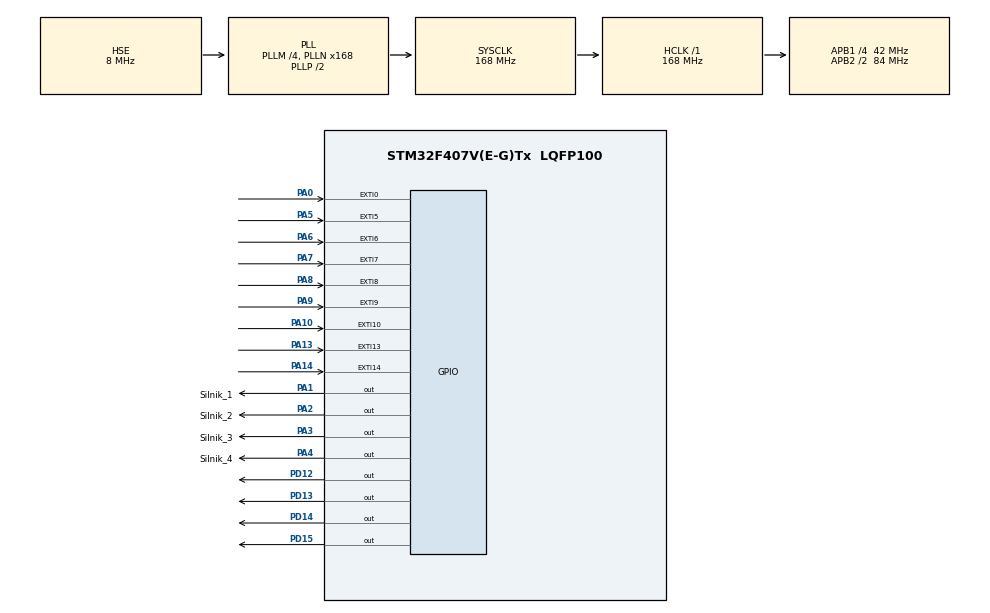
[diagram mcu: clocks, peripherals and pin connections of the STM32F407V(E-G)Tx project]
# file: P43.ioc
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Mcu.Family=STM32F4
Mcu.Name=STM32F407V(E-G)Tx
Mcu.Package=LQFP100
NVIC.EXTI0_IRQn=true\:0\:0\:false\:false\:true\:true\:true
NVIC.EXTI9_5_IRQn=true\:0\:0\:false\:false\:true\:true\:true
NVIC.PriorityGroup=NVIC_PRIORITYGROUP_4
PA0-WKUP.GPIO_ModeDefaultEXTI=GPIO_MODE_IT_RISING
PA0-WKUP.Signal=GPXTI0
PA1.GPIO_Label=Silnik_1
PA1.Signal=GPIO_Output
PA10.GPIO_PuPd=GPIO_PULLDOWN
PA10.Signal=GPXTI10
PA13.GPIO_PuPd=GPIO_PULLDOWN
PA13.Signal=GPXTI13
PA14.GPIO_PuPd=GPIO_PULLDOWN
PA14.Signal=GPXTI14
PA2.GPIO_Label=Silnik_2
PA2.Signal=GPIO_Output
PA3.GPIO_Label=Silnik_3
PA3.Signal=GPIO_Output
PA4.GPIO_Label=Silnik_4
PA4.Signal=GPIO_Output
PA5.GPIO_PuPd=GPIO_PULLDOWN
PA5.Signal=GPXTI5
PA6.GPIO_PuPd=GPIO_PULLDOWN
PA6.Signal=GPXTI6
PA7.GPIO_PuPd=GPIO_PULLDOWN
PA7.Signal=GPXTI7
PA8.GPIO_PuPd=GPIO_PULLDOWN
PA8.Signal=GPXTI8
PA9.GPIO_PuPd=GPIO_PULLDOWN
PA9.Signal=GPXTI9
PD12.Signal=GPIO_Output
PD13.Signal=GPIO_Output
PD14.Signal=GPIO_Output
PD15.Signal=GPIO_Output
PH0-OSC_IN.Mode=HSE-External-Oscillator
PH0-OSC_IN.Signal=RCC_OSC_IN
PH1-OSC_OUT.Mode=HSE-External-Oscillator
PH1-OSC_OUT.Signal=RCC_OSC_OUT
ProjectManager.HeapSize=0x200
ProjectManager.StackSize=0x400
ProjectManager.TargetToolchain=SW4STM32
RCC.48MHZClocksFreq_Value=84000000
RCC.AHBFreq_Value=168000000
RCC.APB1CLKDivider=RCC_HCLK_DIV4
RCC.APB1Freq_Value=42000000
RCC.APB1TimFreq_Value=84000000
RCC.APB2CLKDivider=RCC_HCLK_DIV2
RCC.APB2Freq_Value=84000000
RCC.APB2TimFreq_Value=168000000
RCC.CortexFreq_Value=168000000
RCC.HCLKFreq_Value=168000000
RCC.HSE_VALUE=8000000
RCC.HSI_VALUE=16000000
RCC.LSE_VALUE=32768
RCC.PLLM=4
RCC.PLLN=168
RCC.PLLSourceVirtual=RCC_PLLSOURCE_HSE
RCC.SYSCLKFreq_VALUE=168000000
RCC.SYSCLKSource=RCC_SYSCLKSOURCE_PLLCLK
RCC.VCOOutputFreq_Value=336000000
board=custom

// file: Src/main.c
/* USER CODE BEGIN Header */
/**
  ******************************************************************************
  * @file           : main.c
  * @brief          : Main program body
  ******************************************************************************
  * @attention
  *
  * <h2><center>&copy; Copyright (c) 2020 STMicroelectronics.
  * All rights reserved.</center></h2>
  *
  * This software component is licensed by ST under BSD 3-Clause license,
  * the "License"; You may not use this file except in compliance with the
  * License. You may obtain a copy of the License at:
  *                        opensource.org/licenses/BSD-3-Clause
  *
  ******************************************************************************
  */
/* USER CODE END Header */

#include "main.h"

/* USER CODE BEGIN Includes */
#include "CustomStepperLib.h"
#include "Control.h"
/* USER CODE END Includes */

/* USER CODE BEGIN PD */
/*
/*
    tryby
    0 - manual
    1 - otworz maks
    2 - zamknij maks
    3 - wedlug czasu
*/
int mode = 0;

int aktualna_pozycja = 0;
int maksymalna_pozycja = 100;

int aktualny_czas = 0;
int czas_otwarcia = 150000;
int czas_zamkniecia = 100000;
/* USER CODE END PD */

void SystemClock_Config(void);
static void MX_GPIO_Init(void);
/* USER CODE BEGIN PFP */
void otworz(){
    stepper_motor_rotate_by_angle(10, 0, gRPM);
    aktualna_pozycja -= 10;
}

void zamknij(){
    stepper_motor_rotate_by_angle(10, 1, gRPM);
    aktualna_pozycja += 10;
}
void HAL_GPIO_EXTI_Callback(uint16_t GPIO_Pin){
//k0 - A5,k1-A6,k2-A7,k3-A8,k4-A9,k5-A10,k6-A13,k7-A14
	/*
	    przyciski
	    k0 - tryb manual
	    k1 - tryb otworz maks
	    k2 - tryb zamknij maks
	    k3 - tryb czasu
	    k4 - ustaw pozycje otwartego maks (tylko manual)
	    k5 - ustaw pozycje zamknietego maks (tylko manual)
	    k6 - przesun w dol
	    k7 - przesun w gore
	*/
	if (HAL_GPIO_ReadPin(GPIOA, GPIO_PIN_5) == GPIO_PIN_SET) {//k0
	    mode = 0;
	}
	if (HAL_GPIO_ReadPin(GPIOA, GPIO_PIN_6) == GPIO_PIN_SET) {//k1
	    mode = 1;
	}
	if (HAL_GPIO_ReadPin(GPIOA, GPIO_PIN_7) == GPIO_PIN_SET) {//k2
	    mode = 2;
	}
	if (HAL_GPIO_ReadPin(GPIOA, GPIO_PIN_8) == GPIO_PIN_SET) {//k3
	    mode = 3;
	}
	if (HAL_GPIO_ReadPin(GPIOA, GPIO_PIN_9) == GPIO_PIN_SET) {//k4
	    if(mode == 0){
	        aktualna_pozycja = 0;
	    }
	}
	if (HAL_GPIO_ReadPin(GPIOA, GPIO_PIN_10) == GPIO_PIN_SET) {//k5
	    if(mode == 0){
	        maksymalna_pozycja = aktualna_pozycja;
	    }
	}
	if (HAL_GPIO_ReadPin(GPIOA, GPIO_PIN_13) == GPIO_PIN_SET) {//k6
	    if(mode == 0){
	        otworz();
	    }
	}
	if (HAL_GPIO_ReadPin(GPIOA, GPIO_PIN_14) == GPIO_PIN_SET) {//k7
	    if(mode == 0){
	        zamknij();
	    }
	}

}

/* USER CODE END PFP */

int main(void)
{

  /* MCU Configuration--------------------------------------------------------*/

  /* Reset of all peripherals, Initializes the Flash interface and the Systick. */
  HAL_Init();

  /* Configure the system clock */
  SystemClock_Config();

  /* Initialize all configured peripherals */
  MX_GPIO_Init();

  /* Infinite loop */
  /* USER CODE BEGIN WHILE */
  while (1)
  {
	  //PD12 - zielony,PD13-pomaraсczowy,PD14-czerwony,PD15-niebieski
	  	if (HAL_GPIO_ReadPin(GPIOA, GPIO_PIN_13) == GPIO_PIN_SET) {//k6
	        otworz();
	  	}
	  	if (HAL_GPIO_ReadPin(GPIOA, GPIO_PIN_14) == GPIO_PIN_SET) {//k7
	  	        zamknij();

	  	}
	  if(mode == 0){
	      HAL_GPIO_WritePin(GPIOD, GPIO_PIN_12, SET);
	      HAL_GPIO_WritePin(GPIOD, GPIO_PIN_13, RESET);
	      HAL_GPIO_WritePin(GPIOD, GPIO_PIN_14, RESET);
	      HAL_GPIO_WritePin(GPIOD, GPIO_PIN_15, RESET);

	  } else if(mode == 1){
	      HAL_GPIO_WritePin(GPIOD, GPIO_PIN_12, RESET);
	      HAL_GPIO_WritePin(GPIOD, GPIO_PIN_13, SET);
	      HAL_GPIO_WritePin(GPIOD, GPIO_PIN_14, RESET);
	      HAL_GPIO_WritePin(GPIOD, GPIO_PIN_15, RESET);

	      if(aktualna_pozycja > 0){
	          otworz();
	      }

	  } else if(mode == 2){
	      HAL_GPIO_WritePin(GPIOD, GPIO_PIN_12, RESET);
	      HAL_GPIO_WritePin(GPIOD, GPIO_PIN_13, RESET);
	      HAL_GPIO_WritePin(GPIOD, GPIO_PIN_14, SET);
	      HAL_GPIO_WritePin(GPIOD, GPIO_PIN_15, RESET);

	      if(aktualna_pozycja < maksymalna_pozycja){
	          zamknij();
	      }

	  } else if(mode == 3){
	      HAL_GPIO_WritePin(GPIOD, GPIO_PIN_12, RESET);
	      HAL_GPIO_WritePin(GPIOD, GPIO_PIN_13, RESET);
	      HAL_GPIO_WritePin(GPIOD, GPIO_PIN_14, RESET);
	      HAL_GPIO_WritePin(GPIOD, GPIO_PIN_15, SET);

	     if(aktualny_czas > czas_zamkniecia){
	             if(aktualny_czas > czas_otwarcia){
	                 if(aktualna_pozycja > 0){
	                     otworz();
	                 }

	             }else{
	                 if(aktualna_pozycja < maksymalna_pozycja){
	                     zamknij();
	                 }
	             }
	         }else{
	             if(aktualna_pozycja > 0){
	                otworz();
	             }
	         }

    /* USER CODE END WHILE */

  }
}

void SystemClock_Config(void)
{
  RCC_OscInitTypeDef RCC_OscInitStruct = {0};
  RCC_ClkInitTypeDef RCC_ClkInitStruct = {0};

  /** Configure the main internal regulator output voltage
  */
  __HAL_RCC_PWR_CLK_ENABLE();
  __HAL_PWR_VOLTAGESCALING_CONFIG(PWR_REGULATOR_VOLTAGE_SCALE1);
  /** Initializes the CPU, AHB and APB busses clocks
  */
  RCC_OscInitStruct.OscillatorType = RCC_OSCILLATORTYPE_HSE;
  RCC_OscInitStruct.HSEState = RCC_HSE_ON;
  RCC_OscInitStruct.PLL.PLLState = RCC_PLL_ON;
  RCC_OscInitStruct.PLL.PLLSource = RCC_PLLSOURCE_HSE;
  RCC_OscInitStruct.PLL.PLLM = 4;
  RCC_OscInitStruct.PLL.PLLN = 168;
  RCC_OscInitStruct.PLL.PLLP = RCC_PLLP_DIV2;
  RCC_OscInitStruct.PLL.PLLQ = 4;
  if (HAL_RCC_OscConfig(&RCC_OscInitStruct) != HAL_OK)
  {
    Error_Handler();
  }
  /** Initializes the CPU, AHB and APB busses clocks
  */
  RCC_ClkInitStruct.ClockType = RCC_CLOCKTYPE_HCLK|RCC_CLOCKTYPE_SYSCLK
                              |RCC_CLOCKTYPE_PCLK1|RCC_CLOCKTYPE_PCLK2;
  RCC_ClkInitStruct.SYSCLKSource = RCC_SYSCLKSOURCE_PLLCLK;
  RCC_ClkInitStruct.AHBCLKDivider = RCC_SYSCLK_DIV1;
  RCC_ClkInitStruct.APB1CLKDivider = RCC_HCLK_DIV4;
  RCC_ClkInitStruct.APB2CLKDivider = RCC_HCLK_DIV2;

  if (HAL_RCC_ClockConfig(&RCC_ClkInitStruct, FLASH_LATENCY_5) != HAL_OK)
  {
    Error_Handler();
  }
}

static void MX_GPIO_Init(void)
{
  GPIO_InitTypeDef GPIO_InitStruct = {0};

  /* GPIO Ports Clock Enable */
  __HAL_RCC_GPIOH_CLK_ENABLE();
  __HAL_RCC_GPIOA_CLK_ENABLE();
  __HAL_RCC_GPIOD_CLK_ENABLE();

  /*Configure GPIO pin Output Level */
  HAL_GPIO_WritePin(GPIOA, Silnik_1_Pin|Silnik_2_Pin|Silnik_3_Pin|Silnik_4_Pin, GPIO_PIN_RESET);

  /*Configure GPIO pin Output Level */
  HAL_GPIO_WritePin(GPIOD, GPIO_PIN_12|GPIO_PIN_13|GPIO_PIN_14|GPIO_PIN_15, GPIO_PIN_RESET);

  /*Configure GPIO pin : PA0 */
  GPIO_InitStruct.Pin = GPIO_PIN_0;
  GPIO_InitStruct.Mode = GPIO_MODE_IT_RISING;
  GPIO_InitStruct.Pull = GPIO_NOPULL;
  HAL_GPIO_Init(GPIOA, &GPIO_InitStruct);

  /*Configure GPIO pins : Silnik_1_Pin Silnik_2_Pin Silnik_3_Pin Silnik_4_Pin */
  GPIO_InitStruct.Pin = Silnik_1_Pin|Silnik_2_Pin|Silnik_3_Pin|Silnik_4_Pin;
  GPIO_InitStruct.Mode = GPIO_MODE_OUTPUT_PP;
  GPIO_InitStruct.Pull = GPIO_NOPULL;
  GPIO_InitStruct.Speed = GPIO_SPEED_FREQ_LOW;
  HAL_GPIO_Init(GPIOA, &GPIO_InitStruct);

  /*Configure GPIO pins : PA5 PA6 PA7 PA8
                           PA9 PA10 PA13 PA14 */
  GPIO_InitStruct.Pin = GPIO_PIN_5|GPIO_PIN_6|GPIO_PIN_7|GPIO_PIN_8
                          |GPIO_PIN_9|GPIO_PIN_10|GPIO_PIN_13|GPIO_PIN_14;
  GPIO_InitStruct.Mode = GPIO_MODE_IT_RISING;
  GPIO_InitStruct.Pull = GPIO_PULLDOWN;
  HAL_GPIO_Init(GPIOA, &GPIO_InitStruct);

  /*Configure GPIO pins : PD12 PD13 PD14 PD15 */
  GPIO_InitStruct.Pin = GPIO_PIN_12|GPIO_PIN_13|GPIO_PIN_14|GPIO_PIN_15;
  GPIO_InitStruct.Mode = GPIO_MODE_OUTPUT_PP;
  GPIO_InitStruct.Pull = GPIO_NOPULL;
  GPIO_InitStruct.Speed = GPIO_SPEED_FREQ_LOW;
  HAL_GPIO_Init(GPIOD, &GPIO_InitStruct);

  /* EXTI interrupt init*/
  HAL_NVIC_SetPriority(EXTI0_IRQn, 0, 0);
  HAL_NVIC_EnableIRQ(EXTI0_IRQn);

  HAL_NVIC_SetPriority(EXTI9_5_IRQn, 0, 0);
  HAL_NVIC_EnableIRQ(EXTI9_5_IRQn);

}

void Error_Handler(void)
{
}

/************************ (C) COPYRIGHT STMicroelectronics *****END OF FILE****/
